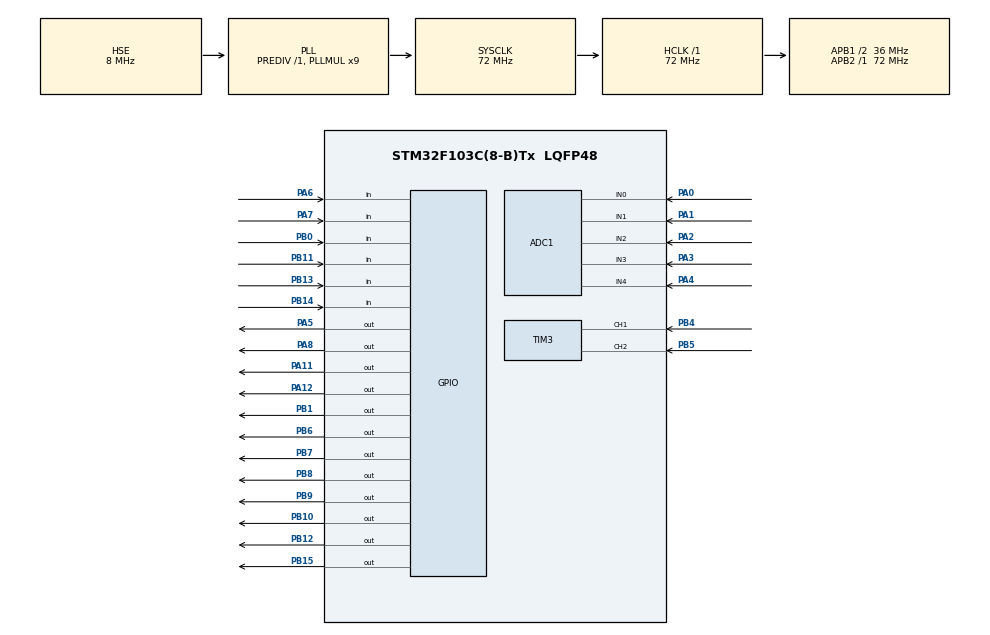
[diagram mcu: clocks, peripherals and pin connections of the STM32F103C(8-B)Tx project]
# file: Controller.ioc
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ADC1.Channel-0\#ChannelRegularConversion=ADC_CHANNEL_4
ADC1.Channel-1\#ChannelRegularConversion=ADC_CHANNEL_3
ADC1.Channel-2\#ChannelRegularConversion=ADC_CHANNEL_0
ADC1.Channel-3\#ChannelRegularConversion=ADC_CHANNEL_1
ADC1.Channel-4\#ChannelRegularConversion=ADC_CHANNEL_2
ADC1.ContinuousConvMode=ENABLE
ADC1.NbrOfConversion=5
ADC1.NbrOfConversionFlag=1
ADC1.Rank-0\#ChannelRegularConversion=1
ADC1.Rank-1\#ChannelRegularConversion=2
ADC1.Rank-2\#ChannelRegularConversion=3
ADC1.Rank-3\#ChannelRegularConversion=4
ADC1.Rank-4\#ChannelRegularConversion=5
ADC1.SamplingTime-0\#ChannelRegularConversion=ADC_SAMPLETIME_55CYCLES_5
ADC1.SamplingTime-1\#ChannelRegularConversion=ADC_SAMPLETIME_55CYCLES_5
ADC1.SamplingTime-2\#ChannelRegularConversion=ADC_SAMPLETIME_55CYCLES_5
ADC1.SamplingTime-3\#ChannelRegularConversion=ADC_SAMPLETIME_55CYCLES_5
ADC1.SamplingTime-4\#ChannelRegularConversion=ADC_SAMPLETIME_55CYCLES_5
ADC1.master=1
Dma.ADC1.0.Direction=DMA_PERIPH_TO_MEMORY
Dma.ADC1.0.Instance=DMA1_Channel1
Dma.ADC1.0.MemDataAlignment=DMA_MDATAALIGN_HALFWORD
Dma.ADC1.0.MemInc=DMA_MINC_ENABLE
Dma.ADC1.0.Mode=DMA_CIRCULAR
Dma.ADC1.0.PeriphDataAlignment=DMA_PDATAALIGN_HALFWORD
Dma.ADC1.0.PeriphInc=DMA_PINC_DISABLE
Dma.ADC1.0.Priority=DMA_PRIORITY_LOW
Dma.Request0=ADC1
Mcu.Family=STM32F1
Mcu.Name=STM32F103C(8-B)Tx
Mcu.Package=LQFP48
NVIC.DMA1_Channel1_IRQn=true\:0\:0\:false\:false\:true\:false\:true\:true
NVIC.PriorityGroup=NVIC_PRIORITYGROUP_4
NVIC.TIM1_UP_IRQn=true\:0\:0\:false\:false\:true\:true\:true\:true
PA0-WKUP.Signal=ADCx_IN0
PA1.Signal=ADCx_IN1
PA11.PinState=GPIO_PIN_RESET
PA11.Signal=GPIO_Output
PA12.PinState=GPIO_PIN_RESET
PA12.Signal=GPIO_Output
PA13.Mode=Serial_Wire
PA13.Signal=SYS_JTMS-SWDIO
PA14.Mode=Serial_Wire
PA14.Signal=SYS_JTCK-SWCLK
PA2.Signal=ADCx_IN2
PA3.Signal=ADCx_IN3
PA4.Signal=ADCx_IN4
PA5.PinState=GPIO_PIN_RESET
PA5.Signal=GPIO_Output
PA6.GPIO_PuPd=GPIO_PULLUP
PA6.Signal=GPIO_Input
PA7.GPIO_PuPd=GPIO_PULLUP
PA7.Signal=GPIO_Input
PA8.PinState=GPIO_PIN_RESET
PA8.Signal=GPIO_Output
PB0.GPIO_PuPd=GPIO_PULLUP
PB0.Signal=GPIO_Input
PB1.PinState=GPIO_PIN_RESET
PB1.Signal=GPIO_Output
PB10.PinState=GPIO_PIN_RESET
PB10.Signal=GPIO_Output
PB11.GPIO_PuPd=GPIO_PULLUP
PB11.Signal=GPIO_Input
PB12.PinState=GPIO_PIN_RESET
PB12.Signal=GPIO_Output
PB13.GPIO_PuPd=GPIO_PULLUP
PB13.Signal=GPIO_Input
PB14.GPIO_PuPd=GPIO_PULLUP
PB14.Signal=GPIO_Input
PB15.PinState=GPIO_PIN_RESET
PB15.Signal=GPIO_Output
PB4.GPIO_PuPd=GPIO_PULLUP
PB4.Signal=S_TIM3_CH1
PB5.GPIO_PuPd=GPIO_PULLUP
PB5.Signal=S_TIM3_CH2
PB6.PinState=GPIO_PIN_RESET
PB6.Signal=GPIO_Output
PB7.PinState=GPIO_PIN_RESET
PB7.Signal=GPIO_Output
PB8.GPIO_ModeDefaultOutputPP=GPIO_MODE_OUTPUT_OD
PB8.GPIO_PuPd=GPIO_NOPULL
PB8.Signal=GPIO_Output
PB9.GPIO_ModeDefaultOutputPP=GPIO_MODE_OUTPUT_OD
PB9.GPIO_PuPd=GPIO_NOPULL
PB9.Signal=GPIO_Output
PD0-OSC_IN.Mode=HSE-External-Oscillator
PD0-OSC_IN.Signal=RCC_OSC_IN
PD1-OSC_OUT.Mode=HSE-External-Oscillator
PD1-OSC_OUT.Signal=RCC_OSC_OUT
ProjectManager.HeapSize=0x200
ProjectManager.StackSize=0x400
ProjectManager.TargetToolchain=MDK-ARM V5.32
RCC.ADCPresc=RCC_ADCPCLK2_DIV6
RCC.AHBFreq_Value=72000000
RCC.APB1CLKDivider=RCC_HCLK_DIV2
RCC.APB1Freq_Value=36000000
RCC.APB1TimFreq_Value=72000000
RCC.APB2Freq_Value=72000000
RCC.APB2TimFreq_Value=72000000
RCC.HCLKFreq_Value=72000000
RCC.PLLMUL=RCC_PLL_MUL9
RCC.PLLSourceVirtual=RCC_PLLSOURCE_HSE
RCC.SYSCLKFreq_VALUE=72000000
RCC.SYSCLKSource=RCC_SYSCLKSOURCE_PLLCLK
RCC.USBFreq_Value=72000000
SH.ADCx_IN0.0=ADC1_IN0,IN0
SH.ADCx_IN1.0=ADC1_IN1,IN1
SH.ADCx_IN2.0=ADC1_IN2,IN2
SH.ADCx_IN3.0=ADC1_IN3,IN3
SH.ADCx_IN4.0=ADC1_IN4,IN4
SH.S_TIM3_CH1.0=TIM3_CH1,Encoder_Interface
SH.S_TIM3_CH2.0=TIM3_CH2,Encoder_Interface
TIM1.AutoReloadPreload=TIM_AUTORELOAD_PRELOAD_ENABLE
TIM1.Period=999
TIM1.Prescaler=71
TIM3.EncoderMode=TIM_ENCODERMODE_TI12
TIM3.IC1Filter=15
TIM3.IC2Filter=15
VP_TIM1_VS_ClockSourceINT.Mode=Internal
board=custom

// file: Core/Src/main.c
/* USER CODE BEGIN Header */
/**
  ******************************************************************************
  * @file           : main.c
  * @brief          : Main program body
  ******************************************************************************
  * @attention
  *
  * Copyright (c) 2026 STMicroelectronics.
  * All rights reserved.
  *
  * This software is licensed under terms that can be found in the LICENSE file
  * in the root directory of this software component.
  * If no LICENSE file comes with this software, it is provided AS-IS.
  *
  ******************************************************************************
  */
/* USER CODE END Header */
#include "main.h"
#include "adc.h"
#include "dma.h"
#include "tim.h"
#include "gpio.h"
#include "Variable.h"
#include "Delay.h"
#include "OLED.h"
#include "Data_proc.h"
#include "LED.h"
#include "NRF24L01.h"
#include "Key.h"

void SystemClock_Config(void);

int main(void)
{

  /* MCU Configuration--------------------------------------------------------*/

  /* Reset of all peripherals, Initializes the Flash interface and the Systick. */
  HAL_Init();

  /* Configure the system clock */
  SystemClock_Config();

  /* Initialize all configured peripherals */
  MX_GPIO_Init();
  MX_DMA_Init();
  MX_ADC1_Init();
  MX_TIM1_Init();
  MX_TIM3_Init();
  /* USER CODE BEGIN 2 */
  HAL_TIM_Base_Start_IT(&htim1);
  HAL_ADCEx_Calibration_Start(&hadc1);                    // 先开启校准ADC
  HAL_ADC_Start_DMA(&hadc1,(uint32_t *)Rocker_Value,5);   // 再启动DMA转换
  HAL_TIM_Encoder_Start(&htim3,TIM_CHANNEL_ALL);          // 启动编码器

  DWT_Init();
  OLED_Init();
  NRF24L01_Init();           // 第②步: 只加回初始化, 暂不发送, 看是否黑屏
  OLED_Init();

  // OLED_Update();
  /* USER CODE END 2 */

  /* Infinite loop */
  while (1)
  {
    KeyNUM();
    if(LED_Slow_time == 0)    //LED显示
    {
      LED_Control();
      LED_Slow_time = 1;
    }
    if(Proc_Slow_time == 0)    //变量处理
    {
      Data_Proc();
      Proc_Slow_time = 1;
    }
    if(Disp_Slow_time == 0)    //数据显示
    {
      Data_Display();
      Disp_Slow_time = 1;
    }
    if(Send_Slow_time == 0)    //发送消息------------------暂时注释
    {
      Data_Send();           // 第③步: 打开发送, 定位黑屏是否由此引起
      Send_Slow_time = 1;
    }
  }
}

void SystemClock_Config(void)
{
  RCC_OscInitTypeDef RCC_OscInitStruct = {0};
  RCC_ClkInitTypeDef RCC_ClkInitStruct = {0};
  RCC_PeriphCLKInitTypeDef PeriphClkInit = {0};

  /** Initializes the RCC Oscillators according to the specified parameters
  * in the RCC_OscInitTypeDef structure.
  */
  RCC_OscInitStruct.OscillatorType = RCC_OSCILLATORTYPE_HSE;
  RCC_OscInitStruct.HSEState = RCC_HSE_ON;
  RCC_OscInitStruct.HSEPredivValue = RCC_HSE_PREDIV_DIV1;
  RCC_OscInitStruct.HSIState = RCC_HSI_ON;
  RCC_OscInitStruct.PLL.PLLState = RCC_PLL_ON;
  RCC_OscInitStruct.PLL.PLLSource = RCC_PLLSOURCE_HSE;
  RCC_OscInitStruct.PLL.PLLMUL = RCC_PLL_MUL9;
  if (HAL_RCC_OscConfig(&RCC_OscInitStruct) != HAL_OK)
  {
    Error_Handler();
  }

  /** Initializes the CPU, AHB and APB buses clocks
  */
  RCC_ClkInitStruct.ClockType = RCC_CLOCKTYPE_HCLK|RCC_CLOCKTYPE_SYSCLK
                              |RCC_CLOCKTYPE_PCLK1|RCC_CLOCKTYPE_PCLK2;
  RCC_ClkInitStruct.SYSCLKSource = RCC_SYSCLKSOURCE_PLLCLK;
  RCC_ClkInitStruct.AHBCLKDivider = RCC_SYSCLK_DIV1;
  RCC_ClkInitStruct.APB1CLKDivider = RCC_HCLK_DIV2;
  RCC_ClkInitStruct.APB2CLKDivider = RCC_HCLK_DIV1;

  if (HAL_RCC_ClockConfig(&RCC_ClkInitStruct, FLASH_LATENCY_2) != HAL_OK)
  {
    Error_Handler();
  }
  PeriphClkInit.PeriphClockSelection = RCC_PERIPHCLK_ADC;
  PeriphClkInit.AdcClockSelection = RCC_ADCPCLK2_DIV6;
  if (HAL_RCCEx_PeriphCLKConfig(&PeriphClkInit) != HAL_OK)
  {
    Error_Handler();
  }
}

/* USER CODE BEGIN 4 */
void HAL_TIM_PeriodElapsedCallback(TIM_HandleTypeDef* htim)     //定时器中断回调函数
{
  if(htim->Instance == TIM1)
  {
     if (++Send_Slow_time > 4)  Send_Slow_time = 0;
        if (++Proc_Slow_time  > 10) Proc_Slow_time = 0;
        if (++Disp_Slow_time  > 15) Disp_Slow_time = 0;
        if (++LED_Slow_time   > 30) LED_Slow_time = 0;

        if (++connect_time > 500) { connect_time = 0; connect_value++; if (connect_value > 200) connect_value = 0; }
  }
}
/* USER CODE END 4 */

void Error_Handler(void)
{
  __disable_irq();
  while (1)
  {
  }
}
